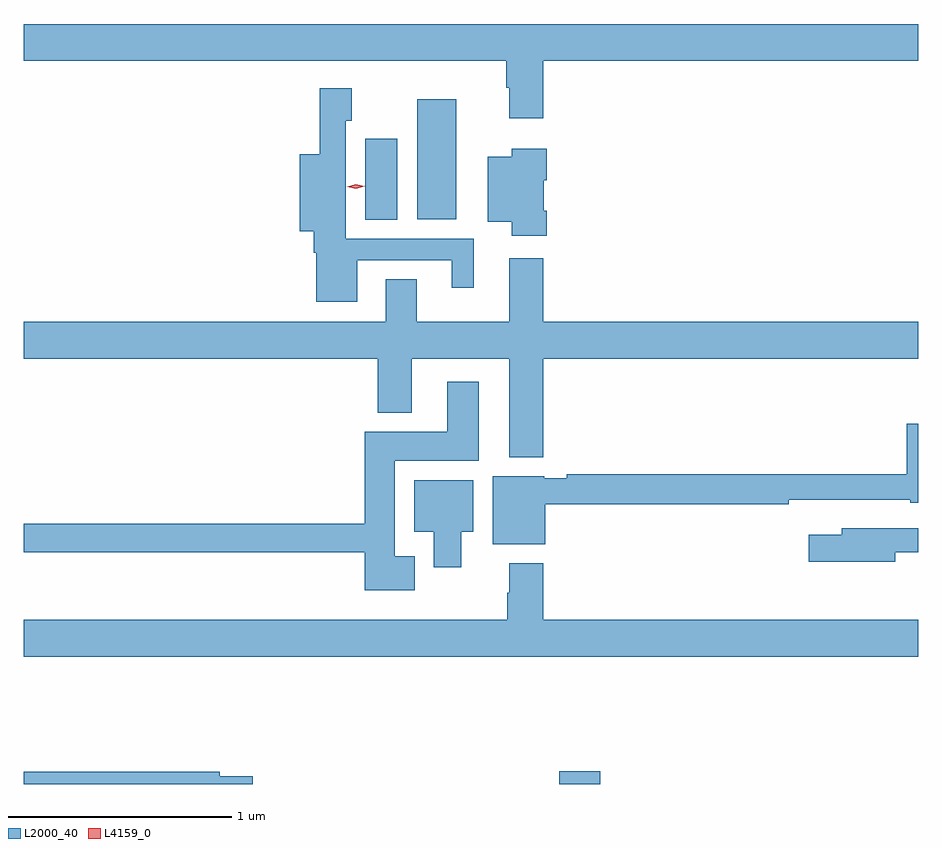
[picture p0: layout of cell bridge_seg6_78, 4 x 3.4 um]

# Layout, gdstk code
import gdstk
lib = gdstk.Library(unit=1e-6, precision=1e-09)
def R(c, l, rs):  # rectangles x0, y0, x1, y1
    for r in rs: c.add(gdstk.rectangle(r[:2], r[2:], *l))
def P(c, l, *ps):  # polygons
    for p in ps: c.add(gdstk.Polygon(p, *l))
L2000_40 = (2000, 40)
L4159_0 = (4159, 0)

bridge_seg6_78 = lib.new_cell('bridge_seg6_78')
R(bridge_seg6_78, L2000_40, [(744.308,930.782,744.491,930.838), (743.441,933.304,743.584,933.667), (743.672,933.308,743.848,933.844)])
P(bridge_seg6_78, L2000_40, [(744.236,934.016),(745.913,934.016),(745.913,934.18),(741.913,934.18),(741.913,934.016),(744.071,934.016),(744.071,933.896),(744.083,933.896),(744.083,933.759),(744.236,933.759)],
  [(743.404,933.123),(743.828,933.123),(743.828,933),(743.926,933),(743.926,933.219),(743.353,933.219),(743.353,933.494),(743.352,933.494),(743.352,933.747),(743.379,933.747),(743.379,933.892),(743.236,933.892),(743.236,933.598),(743.147,933.598),(743.147,933.254),(743.21,933.254),(743.21,933.158),(743.222,933.158),(743.222,932.939),(743.404,932.939)],
  [(744.251,933.346),(744.238,933.346),(744.238,933.482),(744.251,933.482),(744.251,933.622),(744.095,933.622),(744.095,933.586),(743.987,933.586),(743.987,933.296),(744.095,933.296),(744.095,933.234),(744.251,933.234)],
  [(744.236,932.684),(745.913,932.684),(745.913,932.848),(744.236,932.848),(744.236,933.133),(744.083,933.133),(744.083,932.848),(743.671,932.848),(743.671,933.038),(743.531,933.038),(743.531,932.848),(741.913,932.848),(741.913,932.684),(743.495,932.684),(743.495,932.441),(743.647,932.441),(743.647,932.684),(744.083,932.684),(744.083,932.243),(744.236,932.243)],
  [(743.662,931.801),(743.572,931.801),(743.572,932.228),(743.947,932.228),(743.947,932.581),(743.807,932.581),(743.807,932.356),(743.438,932.356),(743.438,931.946),(741.913,931.946),(741.913,931.818),(743.438,931.818),(743.438,931.649),(743.662,931.649)],
  [(744.244,932.032),(745.334,932.032),(745.334,932.052),(745.878,932.052),(745.878,932.039),(745.913,932.039),(745.913,932.392),(745.862,932.392),(745.862,932.168),(744.34,932.168),(744.34,932.148),(744.24,932.148),(744.24,932.158),(744.011,932.158),(744.011,931.853),(744.244,931.853)],
  [(743.869,931.91),(743.923,931.91),(743.923,932.14),(743.66,932.14),(743.66,931.91),(743.747,931.91),(743.747,931.752),(743.869,931.752)],
  [(745.81,931.818),(745.913,931.818),(745.913,931.926),(745.571,931.926),(745.571,931.897),(745.422,931.897),(745.422,931.775),(745.81,931.775)],
  [(745.913,931.516),(744.236,931.516),(744.236,931.768),(744.083,931.768),(744.083,931.637),(744.076,931.637),(744.076,931.516),(741.913,931.516),(741.913,931.352),(745.913,931.352)],
  [(742.937,930.816),(742.79,930.816),(742.79,930.836),(741.913,930.836),(741.913,930.782),(742.937,930.782)])
P(bridge_seg6_78, L4159_0, [(743.398,933.444),(743.359,933.453),(743.359,933.453),(743.359,933.453),(743.398,933.464),(743.438,933.454),(743.438,933.454),(743.438,933.454)])

lib.write_gds('bridge_seg6_78.gds')
